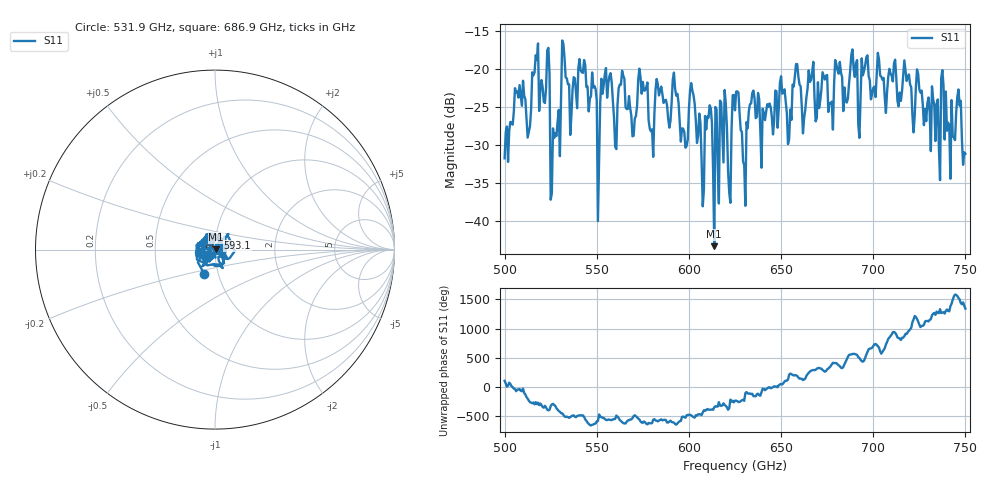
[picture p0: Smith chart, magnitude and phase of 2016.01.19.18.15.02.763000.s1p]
!Created with skrf (http://scikit-rf.org).
# GHz S RI R 50.0
!freq ReS11 ImS11
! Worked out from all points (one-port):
!   401 points, 500 GHz to 750 GHz, reference 50 ohm
!   lowest |S11| = -43.3 dB at 613.8 GHz (marker M1), VSWR 1.01, Z = 50.7 + j0.171 ohm
!   |S11| at or under -10 dB: start of sweep to end of sweep
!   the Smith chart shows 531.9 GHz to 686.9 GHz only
!   S11 on the Smith chart (normalised r, x): 531.9 GHz: 0.86, -0.23; 593.1 GHz: 1.03, +0.13; 686.9 GHz: 0.85, -0.02
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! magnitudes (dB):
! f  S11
! 500 GHz  -31.7
! 506.9 GHz  -22.9
! 513.1 GHz  -28.3
! 516.9 GHz  -18.2
! 523.1 GHz  -17.5
! 526.2 GHz  -27.8
! 531.2 GHz  -16.2
! 531.9 GHz  -16.7
! 548.8 GHz  -22.2
! 550.6 GHz  -40.0
! 553.8 GHz  -22.1
! 562.5 GHz  -22.0
! 579.4 GHz  -28.2
! 593.1 GHz  -23.5
! 593.8 GHz  -23.3
! 613.8 GHz  -43.3
! 618.8 GHz  -32.3
! 621.9 GHz  -36.2
! 625 GHz  -25.4
! 629.4 GHz  -32.1
! 634.4 GHz  -23.1
! 656.2 GHz  -22.0
! 686.9 GHz  -21.9
! 687.5 GHz  -20.2
! 718.8 GHz  -21.0
! 735 GHz  -24.0
! 746.2 GHz  -22.7
! 750 GHz  -31.1
